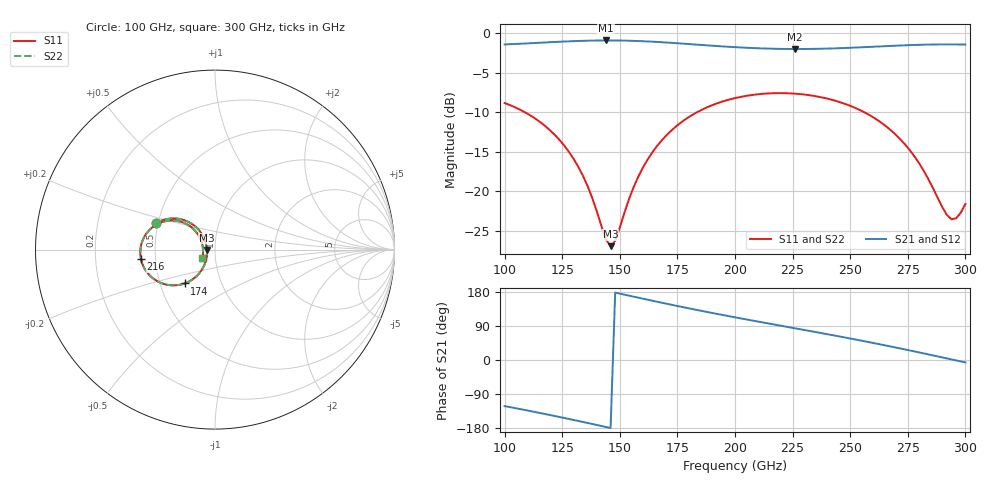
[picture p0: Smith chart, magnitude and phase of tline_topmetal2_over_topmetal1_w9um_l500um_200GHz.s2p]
#  GHZ S DB R 50
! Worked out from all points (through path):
!   101 points, 100 GHz to 300 GHz, reference 50 ohm
!   highest |S21| = -0.95 dB at 144 GHz (marker M1); lowest = -2.0 dB at 226 GHz (marker M2)
!   group delay of S21, straight-line fit = 3.36 ps
!   lowest |S11| = -26.9 dB at 146 GHz (marker M3), VSWR 1.09, Z = 45.7 - j0.131 ohm
!   |S11| at or under -10 dB: 108.7 GHz to 183.6 GHz (74.96 GHz wide, 51.3 % of centre); 256 GHz to end of sweep
!   |S22| runs from -26.9 to -7.6 dB; largest |S21 - S12| = 1.5e-13
!   S11 on the Smith chart (normalised r, x): 100 GHz: 0.49, +0.16; 174 GHz: 0.67, -0.27; 216 GHz: 0.41, -0.05; 300 GHz: 0.87, -0.08
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100  -8.85 156.1  -1.45 -121.7  -1.45 -121.7  -8.85 156.2
120  -12.37 136.6  -1.17 -145.6  -1.17 -145.6  -12.37 136.7
128  -15.05 130.8  -1.06 -155.7  -1.06 -155.7  -15.05 130.9
134  -18.04 129.6  -1.00 -163.5  -1.00 -163.5  -18.04 129.8
138  -20.82 133.1  -0.97 -168.8  -0.97 -168.8  -20.81 133.3
144  -26.10 161.0  -0.95 -176.8  -0.95 -176.8  -26.08 161.1
146  -26.94 -178.2  -0.95 -179.5  -0.95 -179.5  -26.92 -178.2
148  -26.26 -156.9  -0.95 177.9  -0.95 177.9  -26.25 -156.9
158  -18.17 -123.4  -1.02 164.5  -1.02 164.5  -18.18 -123.4
168  -13.64 -127.0  -1.17 151.4  -1.17 151.4  -13.64 -126.9
174  -11.91 -132.0  -1.28 143.8  -1.28 143.8  -11.91 -131.8
186  -9.65 -143.5  -1.53 129.0  -1.53 129.0  -9.65 -143.3
200  -8.23 -157.3  -1.80 112.6  -1.80 112.6  -8.23 -157.1
216  -7.62 -172.9  -1.99 94.7  -1.99 94.7  -7.62 -172.7
226  -7.67 177.6  -2.03 83.7  -2.03 83.7  -7.67 177.8
234  -7.94 170.0  -2.01 74.9  -2.01 74.9  -7.94 170.2
252  -9.45 153.3  -1.85 54.4  -1.85 54.4  -9.45 153.6
268  -12.38 140.2  -1.63 35.1  -1.63 35.1  -12.37 140.6
280  -16.50 136.5  -1.50 19.9  -1.50 19.9  -16.48 136.9
292  -23.01 165.2  -1.44 4.2  -1.44 4.2  -22.91 165.6
296  -23.42 -168.3  -1.45 -1.1  -1.45 -1.1  -23.31 -168.3
300  -21.62 -147.0  -1.47 -6.4  -1.47 -6.4  -21.55 -147.2
